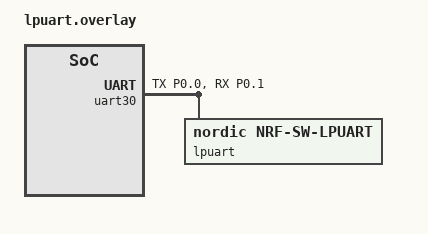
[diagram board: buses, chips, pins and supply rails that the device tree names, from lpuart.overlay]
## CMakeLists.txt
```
# SPDX-License-Identifier: MIT
cmake_minimum_required(VERSION 3.20.0)
set(DIAGNOSTIC_TRANSPORT "uart" CACHE STRING "uart, async, threewire, lpuart or spi")
if(DIAGNOSTIC_TRANSPORT STREQUAL "uart")
    set(upstream_relative "samples/bluetooth/hci_uart")
elseif(DIAGNOSTIC_TRANSPORT STREQUAL "async")
    set(upstream_relative "samples/bluetooth/hci_uart_async")
elseif(DIAGNOSTIC_TRANSPORT STREQUAL "threewire")
    set(upstream_relative "samples/bluetooth/hci_uart_3wire")
elseif(DIAGNOSTIC_TRANSPORT STREQUAL "lpuart")
    set(upstream_relative "samples/bluetooth/hci_uart")
elseif(DIAGNOSTIC_TRANSPORT STREQUAL "spi")
    set(upstream_relative "samples/bluetooth/hci_spi")
else()
    message(FATAL_ERROR "Unknown or unavailable diagnostic transport")
endif()
find_package(Zephyr REQUIRED HINTS $ENV{ZEPHYR_BASE})
project(nucode_raw_controller)
set(upstream_main "${ZEPHYR_BASE}/${upstream_relative}/src/main.c")
set_source_files_properties("${upstream_main}" PROPERTIES COMPILE_DEFINITIONS "main=nucode_upstream_main")
target_sources(app PRIVATE src/main.c "${upstream_main}")
if(DIAGNOSTIC_TRANSPORT STREQUAL "async")
    target_sources(app PRIVATE "${ZEPHYR_BASE}/${upstream_relative}/src/hci_uart_async.c")
endif()
```

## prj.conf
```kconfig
CONFIG_CONSOLE=n
CONFIG_UART_CONSOLE=n
CONFIG_STDOUT_CONSOLE=n
CONFIG_PRINTK=n
CONFIG_BOOT_BANNER=n
CONFIG_NCS_BOOT_BANNER=n
CONFIG_ASSERT_VERBOSE=n
CONFIG_LOG=n
CONFIG_SERIAL=y
CONFIG_GPIO=y
CONFIG_BT=y
CONFIG_BT_HCI_RAW=y
CONFIG_BT_HCI_RAW_H4=y
CONFIG_BT_HCI_RAW_H4_ENABLE=y
CONFIG_BT_MAX_CONN=2
CONFIG_BT_BUF_CMD_TX_SIZE=255
CONFIG_BT_BUF_ACL_RX_SIZE=255
CONFIG_BT_CTLR_DTM_HCI=y
CONFIG_WATCHDOG=y
CONFIG_HWINFO=y
CONFIG_MAIN_STACK_SIZE=2048
CONFIG_SYSTEM_WORKQUEUE_STACK_SIZE=1024
```

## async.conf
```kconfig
CONFIG_UART_ASYNC_API=y
CONFIG_POLL=y
```

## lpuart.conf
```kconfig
CONFIG_UART_INTERRUPT_DRIVEN=y
CONFIG_UART_ASYNC_API=y
CONFIG_NRF_SW_LPUART=y
CONFIG_NRF_SW_LPUART_INT_DRIVEN=y
```

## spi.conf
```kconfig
CONFIG_SPI=y
CONFIG_SPI_SLAVE=y
CONFIG_BT_HCI_RAW_H4=n
CONFIG_BT_HCI_RAW_H4_ENABLE=n
```

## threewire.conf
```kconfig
CONFIG_UART_INTERRUPT_DRIVEN=y
CONFIG_POLL=y
```

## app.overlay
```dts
/** @brief controller 전용 image의 로그 경로와 통신 peripheral 소유권을 분리한다. */
/ {
    chosen {
        /delete-property/ zephyr,console;
        /delete-property/ zephyr,shell-uart;
        /delete-property/ zephyr,uart-mcumgr;
        /delete-property/ zephyr,bt-mon-uart;
        zephyr,bt-c2h-uart = &uart30;
    };
};

&uart20 { status = "disabled"; };
&uart30
{
    status = "okay";
    current-speed = <1000000>;
    pinctrl-0 = <&uart30_default>;
    pinctrl-1 = <&uart30_sleep>;
    pinctrl-names = "default", "sleep";
    hw-flow-control;
};
&wdt31 { status = "okay"; };
&lfxo
{
    load-capacitors = "external";
    /delete-property/ load-capacitance-femtofarad;
};
```

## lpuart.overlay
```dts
/** @brief 외부 Host와 TX/RX·REQ/RDY handshake를 사용하는 저전력 UART. */
&pinctrl
{
    diag_lpuart_pins: diag_lpuart_pins
    {
        group1 { psels = <NRF_PSEL(UART_TX, 0, 0)>, <NRF_PSEL(UART_RX, 0, 1)>; };
    };
};
&uart30
{
    /delete-property/ hw-flow-control;
    pinctrl-0 = <&diag_lpuart_pins>;
    /delete-property/ pinctrl-1;
    pinctrl-names = "default";
    lpuart: diag_lpuart: nrf-sw-lpuart
    {
        compatible = "nordic,nrf-sw-lpuart";
        status = "okay";
        req-pin = <2>;
        rdy-pin = <3>;
    };
};
/ { chosen { zephyr,bt-c2h-uart = &diag_lpuart; }; };
```

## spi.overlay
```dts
/** @brief SPI slave/IRQ의 실제 결선을 별도 확인한 외부 Host 전용 경로. */
&uart30 { status = "disabled"; };
/ { chosen { /delete-property/ zephyr,bt-c2h-uart; }; };
&pinctrl
{
    diag_spis_pins: diag_spis_pins
    {
        group1
        {
            psels = <NRF_PSEL(SPIS_SCK, 2, 1)>, <NRF_PSEL(SPIS_MOSI, 2, 2)>,
                    <NRF_PSEL(SPIS_MISO, 2, 4)>, <NRF_PSEL(SPIS_CSN, 2, 0)>;
        };
    };
};
&spi00
{
    compatible = "nordic,nrf-spis";
    /delete-property/ rx-delay-supported;
    /delete-property/ rx-delay;
    status = "okay";
    def-char = <0>;
    pinctrl-0 = <&diag_spis_pins>;
    /delete-property/ pinctrl-1;
    pinctrl-names = "default";
    bt-hci@0
    {
        compatible = "zephyr,bt-hci-spi-slave";
        reg = <0>;
        irq-gpios = <&gpio2 3 GPIO_ACTIVE_HIGH>;
    };
};
```

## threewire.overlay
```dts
/** @brief H5는 TX/RX와 GND만 사용하고 RTS/CTS를 할당하지 않는다. */
&pinctrl
{
    diag_uart30_two_wire: diag_uart30_two_wire
    {
        group1 { psels = <NRF_PSEL(UART_TX, 0, 0)>, <NRF_PSEL(UART_RX, 0, 1)>; };
    };
};
&uart30
{
    /delete-property/ hw-flow-control;
    pinctrl-0 = <&diag_uart30_two_wire>;
    /delete-property/ pinctrl-1;
    pinctrl-names = "default";
};
```

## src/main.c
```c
/**
 * @file main.c
 * @brief upstream controller의 독점 소유권과 120초 hardware lease를 보장한다.
 * SPDX-License-Identifier: MIT
 */
#include <zephyr/drivers/hwinfo.h>
#include <zephyr/drivers/watchdog.h>
#include <zephyr/kernel.h>
#include <errno.h>

#if (!defined(NUCODE_DIAGNOSTIC_HOST_APP) && defined(CONFIG_BT_HCI_HOST)) ||                       \
    defined(CONFIG_NUCODE_ARDUINO_CORE)
#error "Raw controller and Arduino/Host stack cannot share RADIO or buffers"
#endif
#if !defined(NUCODE_DIAGNOSTIC_HOST_APP) &&                                                        \
    (defined(CONFIG_UART_CONSOLE) || defined(CONFIG_PRINTK) || defined(CONFIG_LOG))
#error "HCI transport cannot share console or log output"
#endif

int nucode_upstream_main(void);

/** @brief 시작 후 120초가 지나면 reset하며 watchdog reset 뒤에는 RF를 재개하지 않는다. */
int main(void)
{
    uint32_t cause = 0;
    if (hwinfo_get_reset_cause(&cause) != 0)
    {
        return -EPERM;
    }
    (void)hwinfo_clear_reset_cause();
    if ((cause & RESET_WATCHDOG) != 0)
    {
        return -EPERM;
    }
    const struct device *watchdog = DEVICE_DT_GET(DT_ALIAS(watchdog0));
    if (!device_is_ready(watchdog))
    {
        return -ENODEV;
    }
    const struct wdt_timeout_cfg lease = {
        .window = {.min = 0, .max = 120000},
        .flags = WDT_FLAG_RESET_SOC,
    };
    if (wdt_install_timeout(watchdog, &lease) < 0 ||
        wdt_setup(watchdog, WDT_OPT_PAUSE_HALTED_BY_DBG) != 0)
    {
        return -EIO;
    }
    return nucode_upstream_main();
}
```
